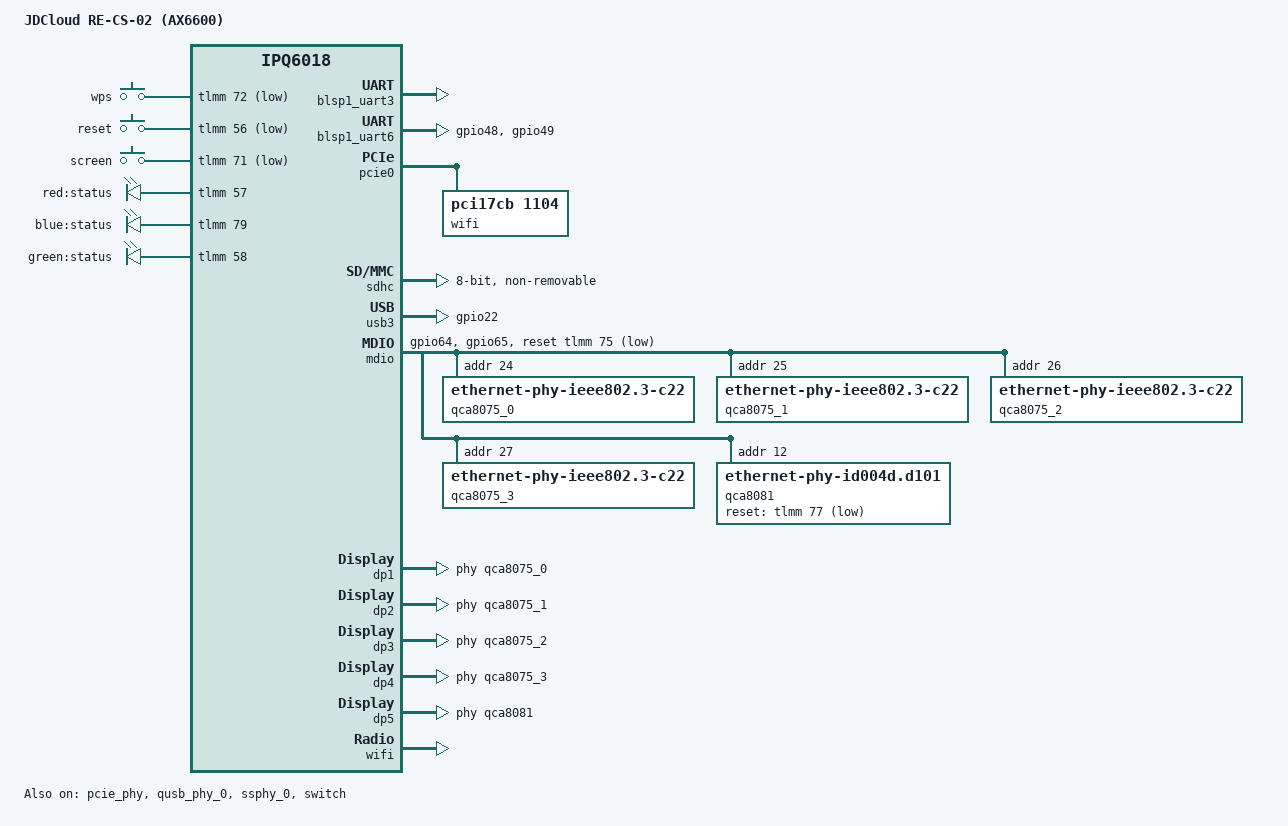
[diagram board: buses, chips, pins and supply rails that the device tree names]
// SPDX-License-Identifier: GPL-2.0-or-later OR MIT

/dts-v1/;

#include "ipq6018.dtsi"
#include "ipq6018-ess.dtsi"
#include "ipq6018-nss.dtsi"

#include <dt-bindings/gpio/gpio.h>
#include <dt-bindings/input/input.h>

/ {
	model = "JDCloud RE-CS-02 (AX6600)";
	compatible = "jdcloud,re-cs-02", "qcom,ipq6018";

	aliases {
		serial0 = &blsp1_uart3;
		serial1 = &blsp1_uart6;
		led-boot = &led_status_green;
		led-failsafe = &led_status_red;
		led-running = &led_status_blue;
		led-upgrade = &led_status_red;

		ethernet0 = "/soc/dp1";
		ethernet1 = "/soc/dp2";
		ethernet2 = "/soc/dp3";
		ethernet3 = "/soc/dp4";
		ethernet4 = "/soc/dp5";
	};

	chosen {
		stdout-path = "serial0:115200n8";
	};

	keys {
		compatible = "gpio-keys";
		pinctrl-0 = <&button_pins>;
		pinctrl-names = "default";

		wps {
			label = "wps";
			linux,code = <KEY_WPS_BUTTON>;
			gpios = <&tlmm 72 GPIO_ACTIVE_LOW>;
		};

		reset {
			label = "reset";
			linux,code = <KEY_RESTART>;
			gpios = <&tlmm 56 GPIO_ACTIVE_LOW>;
		};

		screen {
			label = "screen";
			linux,code = <BTN_1>;
			gpios = <&tlmm 71 GPIO_ACTIVE_LOW>;
		};
	};

	leds {
		compatible = "gpio-leds";

		led_status_red: red {
			label = "red:status";
			gpios = <&tlmm 57 GPIO_ACTIVE_HIGH>;
		};

		led_status_blue: blue {
			label = "blue:status";
			gpios = <&tlmm 79 GPIO_ACTIVE_HIGH>;
		};

		led_status_green: green {
			label = "green:status";
			gpios = <&tlmm 58 GPIO_ACTIVE_HIGH>;
		};
	};
};

&tlmm {
	gpio-reserved-ranges = <20 1>;

	button_pins: button_pins {
		mux {
			pins = "gpio56", "gpio71", "gpio72";
			function = "gpio";
			drive-strength = <8>;
			bias-pull-up;
		};
	};

	btuart_pins: btuart_pins {
		mux {
			pins = "gpio48", "gpio49";
			function = "blsp5_uart";
			drive-strength = <8>;
			bias-pull-up;
		};
	};

	mdio_pins: mdio-pins {
		mdc {
			pins = "gpio64";
			function = "mdc";
			drive-strength = <8>;
			bias-pull-up;
		};

		mdio {
			pins = "gpio65";
			function = "mdio";
			drive-strength = <8>;
			bias-pull-up;
		};
	};

	usb_pwr_pins: usb-pwr-pins {
		mux {
			pins = "gpio22";
			function = "gpio";
			bias-pull-down;
			output-high;
		};
	};
};

&blsp1_uart3 {
	pinctrl-0 = <&serial_3_pins>;
	pinctrl-names = "default";
	status = "okay";
};

&blsp1_uart6 {
	pinctrl-0 = <&btuart_pins>;
	pinctrl-names = "default";
	status = "okay";
};

&pcie_phy {
	status = "okay";
};

&pcie0 {
	perst-gpio = <&tlmm 53 GPIO_ACTIVE_LOW>;
	status = "okay";

	bridge@0,0 {
		reg = <0x00000000 0 0 0 0>;
		#address-cells = <3>;
		#size-cells = <2>;
		ranges;

		wifi@1,0 {
			compatible = "pci17cb,1104";
			reg = <0x00010000 0 0 0 0>;
		};
	};
};

&qusb_phy_0 {
	status = "okay";
};

&rpm {
	status = "disabled";
};

&sdhc {
	bus-width = <8>;
	mmc-ddr-1_8v;
	mmc-hs200-1_8v;
	non-removable;
	status = "okay";
};

&ssphy_0 {
	status = "okay";
};

&usb3 {
	pinctrl-0 = <&usb_pwr_pins>;
	pinctrl-names = "default";
	status = "okay";
};

&mdio {
	status = "okay";

	pinctrl-0 = <&mdio_pins>;
	pinctrl-names = "default";
	reset-gpios = <&tlmm 75 GPIO_ACTIVE_LOW>;

	qca8075_0: ethernet-phy@24 {
		compatible = "ethernet-phy-ieee802.3-c22";
		reg = <24>;
	};

	qca8075_1: ethernet-phy@25 {
		compatible = "ethernet-phy-ieee802.3-c22";
		reg = <25>;
	};

	qca8075_2: ethernet-phy@26 {
		compatible = "ethernet-phy-ieee802.3-c22";
		reg = <26>;
	};

	qca8075_3: ethernet-phy@27 {
		compatible = "ethernet-phy-ieee802.3-c22";
		reg = <27>;
	};

	qca8081: ethernet-phy@12 {
		compatible = "ethernet-phy-id004d.d101";
		reg = <12>;
		reset-gpios = <&tlmm 77 GPIO_ACTIVE_LOW>;
	};
};

&switch {
	status = "okay";

	switch_cpu_bmp = <0x1>;  /* cpu port bitmap */
	switch_lan_bmp = <0x1e>; /* lan port bitmap */
	switch_wan_bmp = <0x20>; /* wan port bitmap */
	switch_inner_bmp = <0xc0>; /*inner port bitmap*/
	switch_mac_mode = <0x0>; /* mac mode for uniphy 0*/
	switch_mac_mode1 = <0xf>; /* mac mode for uniphy 1*/
	switch_mac_mode2 = <0xff>; /* mac mode for uniphy 2*/

	qcom,port_phyinfo {
		port@1 {
			port_id = <1>;
			phy_address = <24>;
		};
		port@2 {
			port_id = <2>;
			phy_address = <25>;
		};
		port@3 {
			port_id = <3>;
			phy_address = <26>;
		};
		port@4 {
			port_id = <4>;
			phy_address = <27>;
		};
		port@5 {
			port_id = <5>;
			phy_address = <12>;
			port_mac_sel = "QGMAC_PORT";
		};
	};
};

&edma {
	status = "okay";
};

&dp1 {
	status = "okay";
	phy-handle = <&qca8075_0>;
	label = "lan1";
};

&dp2 {
	status = "okay";
	phy-handle = <&qca8075_1>;
	label = "lan2";
};

&dp3 {
	status = "okay";
	phy-handle = <&qca8075_2>;
	label = "lan3";
};

&dp4 {
	status = "okay";
	phy-handle = <&qca8075_3>;
	label = "lan4";
};

&dp5 {
	status = "okay";
	phy-handle = <&qca8081>;
	label = "wan";
};

&wifi {
	status = "okay";
	qcom,ath11k-calibration-variant = "JDC-AX6600";
};
